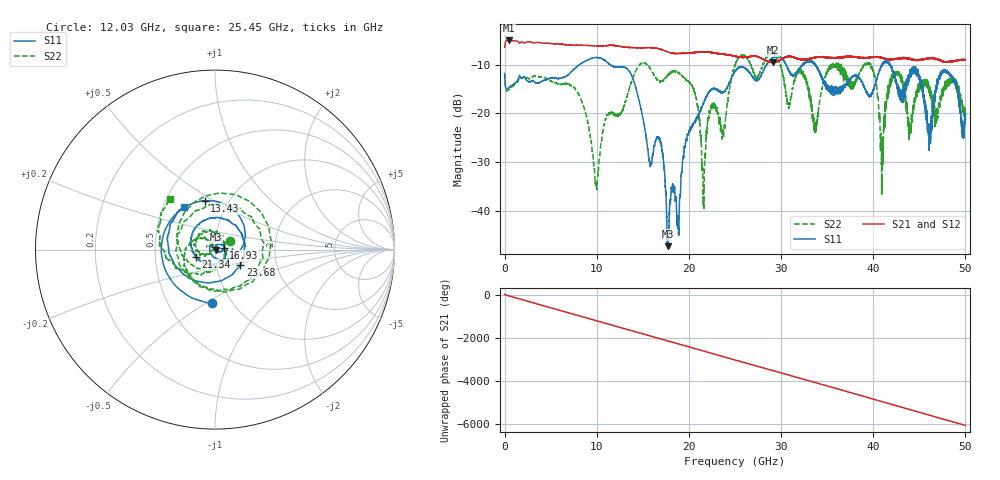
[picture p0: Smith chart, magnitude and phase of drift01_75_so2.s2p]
!Created with skrf (http://scikit-rf.org).
# Hz S RI R 50.0
!freq ReS11 ImS11 ReS21 ImS21 ReS12 ImS12 ReS22 ImS22
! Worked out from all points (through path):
!   10001 points, 300 kHz to 50 GHz, reference 50 ohm
!   highest |S21| = -5.05 dB at 445.3 MHz (marker M1); lowest = -9.6 dB at 29.12 GHz (marker M2)
!   group delay of S21, straight-line fit = 336 ps
!   lowest |S11| = -47.3 dB at 17.7 GHz (marker M3), VSWR 1.01, Z = 50.4 - j0.0325 ohm
!   |S11| at or under -10 dB: start of sweep to 8.152 GHz; 11.43 GHz to 28.42 GHz (16.99 GHz wide, 85.3 % of centre); 41.84 GHz to end of sweep (the widest 3 of 15)
!   |S22| runs from -39.6 to -7.6 dB; largest |S21 - S12| = 0.016
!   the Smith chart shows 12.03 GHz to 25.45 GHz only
!   S11 on the Smith chart (normalised r, x): 12.03 GHz: 0.81, -0.53; 13.43 GHz: 0.77, +0.46; 16.93 GHz: 1.10, +0.02; 21.34 GHz: 0.81, -0.07; 23.68 GHz: 1.31, -0.23; 25.45 GHz: 0.64, +0.33
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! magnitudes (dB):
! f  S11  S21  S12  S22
! 300 kHz  -11.8  -6.4  -6.5  -11.8
! 445.3 MHz  -14.8  -5.0  -5.1  -15.1
! 8.335 GHz  -9.7  -6.0  -6.0  -17.4
! 9.95 GHz  -8.5  -6.2  -6.2  -35.0
! 12.03 GHz  -10.5  -6.1  -6.1  -20.4
! 13.43 GHz  -11.1  -6.5  -6.5  -15.6
! 15.76 GHz  -30.2  -6.5  -6.5  -10.8
! 16.67 GHz  -24.8  -6.7  -6.7  -13.3
! 16.93 GHz  -26.1  -6.9  -6.9  -13.3
! 17.7 GHz  -47.3  -7.4  -7.4  -12.2
! 20.43 GHz  -22.5  -7.6  -7.6  -14.9
! 21.34 GHz  -18.9  -7.4  -7.4  -26.0
! 23.68 GHz  -15.6  -7.9  -7.9  -23.2
! 25 GHz  -11.4  -8.3  -8.3  -10.1
! 25.45 GHz  -10.7  -8.5  -8.5  -8.4
! 29.12 GHz  -8.6  -9.6  -9.6  -7.7
! 33.34 GHz  -9.4  -8.7  -8.7  -19.2
! 39.5 GHz  -16.2  -8.6  -8.6  -9.7
! 40.98 GHz  -9.9  -8.7  -8.6  -26.5
! 41.67 GHz  -9.5  -8.8  -8.9  -14.2
! 48.03 GHz  -11.5  -9.4  -9.4  -13.9
! 50 GHz  -21.3  -9.0  -9.0  -20.2
